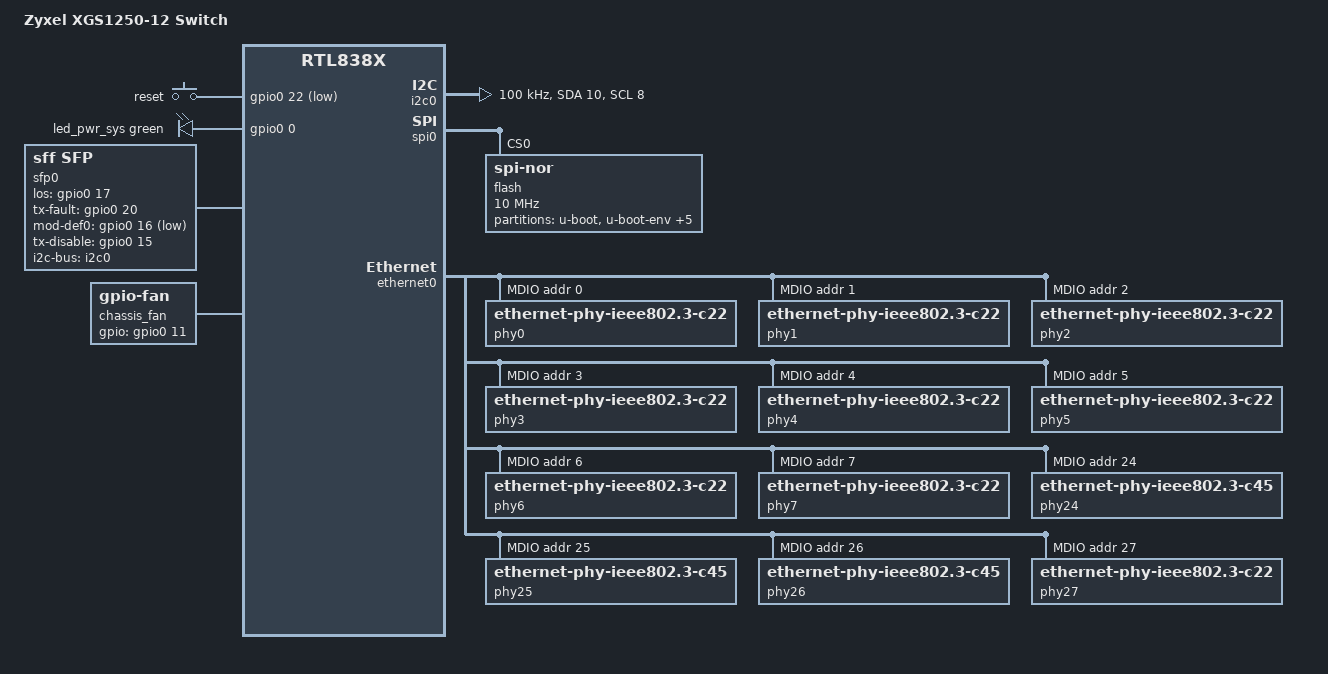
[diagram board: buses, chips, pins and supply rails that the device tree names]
// SPDX-License-Identifier: GPL-2.0-or-later
/dts-v1/;

#include "rtl930x.dtsi"

#include <dt-bindings/input/input.h>
#include <dt-bindings/gpio/gpio.h>
#include <dt-bindings/leds/common.h>
#include <dt-bindings/thermal/thermal.h>

/ {
	compatible = "zyxel,xgs1250-12", "realtek,rtl838x-soc";
	model = "Zyxel XGS1250-12 Switch";

	aliases {
		led-boot = &led_pwr_sys;
		led-failsafe = &led_pwr_sys;
		led-running = &led_pwr_sys;
		led-upgrade = &led_pwr_sys;
	};

	keys {
		compatible = "gpio-keys";

		mode {
			label = "reset";
			gpios = <&gpio0 22 GPIO_ACTIVE_LOW>;
			linux,code = <KEY_RESTART>;
		};
	};

	/* i2c of the SFP cage: port 12 */
	i2c0: i2c-rtl9300@1b00036c {
		compatible = "realtek,rtl9300-i2c";
		reg = <0x1b00036c 0x3c>;
		#address-cells = <1>;
		#size-cells = <0>;
		sda-pin = <10>;
		scl-pin = <8>;
		clock-frequency = <100000>;
	};

	leds {
		compatible = "gpio-leds";

		pinctrl-names = "default";
		pinctrl-0 = <&pinmux_disable_sys_led>;

		led_pwr_sys: led-0 {
			color = <LED_COLOR_ID_GREEN>;
			function = LED_FUNCTION_POWER;
			gpios = <&gpio0 0 GPIO_ACTIVE_HIGH>;
		};
	};

	sfp0: sfp-p12 {
		compatible = "sff,sfp";
		i2c-bus = <&i2c0>;
		los-gpio = <&gpio0 17 GPIO_ACTIVE_HIGH>;
		tx-fault-gpio = <&gpio0 20 GPIO_ACTIVE_HIGH>;
		mod-def0-gpio = <&gpio0 16 GPIO_ACTIVE_LOW>;
		tx-disable-gpio = <&gpio0 15 GPIO_ACTIVE_HIGH>;
	};

	led_set: led_set {
		compatible = "realtek,rtl9300-leds";
		active-low;

		led_set0 = <0x0a20 0x0b80>; // LED set 0: 1000Mbps,  10/100Mbps
		led_set1 = <0x0a0b 0x0a28 0x0a82 0x0a0b>; // LED set 1: (10G, 5G, 2.5G) (2.5G, 1G)
							  // (5G, 10/100) (10G, 5G, 2.5G)
		led_set2 = <0x0a20 0x0a01>; // LED set 2: 1000MBit, 10GBit
	};

	thermal-zones {
		phy24-thermal {
			/* Poll every 10 seconds */
			polling-delay-passive = <10000>;
			polling-delay = <10000>;
			thermal-sensors = <&phy24>;

			trips {
				phy24_trip0: phy24-trip0 {
					/* At 80 degrees turn on fan */
					temperature = <80000>;
					hysteresis = <1000>;
					type = "active";
				};

				phy24_trip1: phy24-trip1 {
					/* At 108 degrees phys exceed spec */
					temperature = <108000>;
					hysteresis = <5000>;
					type = "critical";
				};
			};

			cooling-maps {
				map {
					trip = <&phy24_trip0>;
					cooling-device = <&chassis_fan THERMAL_NO_LIMIT THERMAL_NO_LIMIT>;
				};
			};
		};

		phy25-thermal {
			/* Poll every 10 seconds */
			polling-delay-passive = <10000>;
			polling-delay = <10000>;
			thermal-sensors = <&phy25>;

			trips {
				phy25_trip0: phy25-trip0 {
					/* At 80 degrees turn on fan */
					temperature = <80000>;
					hysteresis = <1000>;
					type = "active";
				};

				phy25_trip1: phy25-trip1 {
					/* At 108 degrees phys exceed spec */
					temperature = <108000>;
					hysteresis = <5000>;
					type = "critical";
				};
			};

			cooling-maps {
				map {
					trip = <&phy25_trip0>;
					cooling-device = <&chassis_fan THERMAL_NO_LIMIT THERMAL_NO_LIMIT>;
				};
			};
		};

		phy26-thermal {
			/* Poll every 10 seconds */
			polling-delay-passive = <10000>;
			polling-delay = <10000>;
			thermal-sensors = <&phy26>;

			trips {
				phy26_trip0: phy26-trip0 {
					/* At 80 degrees turn on fan */
					temperature = <80000>;
					hysteresis = <1000>;
					type = "active";
				};

				phy26_trip1: phy26-trip1 {
					/* At 108 degrees phys exceed spec */
					temperature = <108000>;
					hysteresis = <5000>;
					type = "critical";
				};
			};

			cooling-maps {
				map {
					trip = <&phy26_trip0>;
					cooling-device = <&chassis_fan THERMAL_NO_LIMIT THERMAL_NO_LIMIT>;
				};
			};
		};
	};

	/* YEN SUN TECHNOLOGY FD122510LL-N fan */
	chassis_fan: gpio-fan {
		compatible = "gpio-fan";
		gpios = <&gpio0 11 GPIO_ACTIVE_HIGH>;
		gpio-fan,speed-map = <0    0
				      7000 1>;
		#cooling-cells = <2>;
	};
};

&spi0 {
	status = "okay";
	flash@0 {
		compatible = "jedec,spi-nor";
		reg = <0>;
		spi-max-frequency = <10000000>;

		partitions {
			compatible = "fixed-partitions";
			#address-cells = <1>;
			#size-cells = <1>;

			partition@0 {
				label = "u-boot";
				reg = <0x0 0xe0000>;
				read-only;
			};
			partition@e0000 {
				label = "u-boot-env";
				reg = <0xe0000 0x10000>;
			};
			partition@f0000 {
				label = "u-boot-env2";
				reg = <0xf0000 0x10000>;
				read-only;
			};
			partition@100000 {
				label = "jffs";
				reg = <0x100000 0x100000>;
			};
			partition@200000 {
				label = "jffs2";
				reg = <0x200000 0x100000>;
			};
			partition@b300000 {
				label = "firmware";
				reg = <0x300000 0xce0000>;
				compatible = "openwrt,uimage", "denx,uimage";
				openwrt,ih-magic = <0x93001250>;
			};
			partition@fe0000 {
				label = "log";
				reg = <0xfe0000 0x20000>;
			};
		};
	};
};

&ethernet0 {
	mdio: mdio-bus {
		compatible = "realtek,rtl838x-mdio";
		regmap = <&ethernet0>;
		#address-cells = <1>;
		#size-cells = <0>;

		/* External RTL8218D PHY */
		phy0: ethernet-phy@0 {
			reg = <0>;
			compatible = "ethernet-phy-ieee802.3-c22";
			rtl9300,smi-address = <0 0>;
			sds = < 2 >;
			// Disabled because we do not know how to bring up again
			// reset-gpios = <&gpio0 21 GPIO_ACTIVE_LOW>;
		};
		phy1: ethernet-phy@1 {
			reg = <1>;
			compatible = "ethernet-phy-ieee802.3-c22";
			rtl9300,smi-address = <0 1>;
		};
		phy2: ethernet-phy@2 {
			reg = <2>;
			compatible = "ethernet-phy-ieee802.3-c22";
			rtl9300,smi-address = <0 2>;
		};
		phy3: ethernet-phy@3 {
			reg = <3>;
			compatible = "ethernet-phy-ieee802.3-c22";
			rtl9300,smi-address = <0 3>;
		};
		phy4: ethernet-phy@4 {
			reg = <4>;
			compatible = "ethernet-phy-ieee802.3-c22";
			rtl9300,smi-address = <0 4>;
		};
		phy5: ethernet-phy@5 {
			reg = <5>;
			compatible = "ethernet-phy-ieee802.3-c22";
			rtl9300,smi-address = <0 5>;
		};
		phy6: ethernet-phy@6 {
			reg = <6>;
			compatible = "ethernet-phy-ieee802.3-c22";
			rtl9300,smi-address = <0 6>;
		};
		phy7: ethernet-phy@7 {
			reg = <7>;
			compatible = "ethernet-phy-ieee802.3-c22";
			rtl9300,smi-address = <0 7>;
		};

		/* External Aquantia 113C PHYs */
		phy24: ethernet-phy@24 {
			reg = <24>;
			compatible = "ethernet-phy-ieee802.3-c45";
			rtl9300,smi-address = <1 8>;
			sds = < 6 >;
			// Disabled because we do not know how to bring up again
			// reset-gpios = <&gpio0 21 GPIO_ACTIVE_LOW>;
			#thermal-sensor-cells = <0>;
		};

		phy25: ethernet-phy@25 {
			reg = <25>;
			compatible = "ethernet-phy-ieee802.3-c45";
			rtl9300,smi-address = <2 8>;
			sds = < 7 >;
			// Disabled because we do not know how to bring up again
			// reset-gpios = <&gpio0 21 GPIO_ACTIVE_LOW>;
			#thermal-sensor-cells = <0>;
		};

		phy26: ethernet-phy@26 {
			reg = <26>;
			compatible = "ethernet-phy-ieee802.3-c45";
			rtl9300,smi-address = <3 8>;
			sds = < 8 >;
			// Disabled because we do not know how to bring up again
			// reset-gpios = <&gpio0 21 GPIO_ACTIVE_LOW>;
			#thermal-sensor-cells = <0>;
		};

		/* SFP Ports */
		phy27: ethernet-phy@27 {
			compatible = "ethernet-phy-ieee802.3-c22";
			phy-is-integrated;
			reg = <27>;
			sds = < 9 >;
		};

	};
};

&switch0 {
	ports {
		#address-cells = <1>;
		#size-cells = <0>;

		port@0 {
			reg = <0>;
			label = "lan1";
			phy-handle = <&phy0>;
			phy-mode = "xgmii";
			led-set = <0>;
		};
		port@1 {
			reg = <1>;
			label = "lan2";
			phy-handle = <&phy1>;
			phy-mode = "xgmii";
			led-set = <0>;
		};
		port@2 {
			reg = <2>;
			label = "lan3";
			phy-handle = <&phy2>;
			phy-mode = "xgmii";
			led-set = <0>;
		};
		port@3 {
			reg = <3>;
			label = "lan4";
			phy-handle = <&phy3>;
			phy-mode = "xgmii";
			led-set = <0>;
		};
		port@4 {
			reg = <4>;
			label = "lan5";
			phy-handle = <&phy4>;
			phy-mode = "xgmii";
			led-set = <0>;
		};
		port@5 {
			reg = <5>;
			label = "lan6";
			phy-handle = <&phy5>;
			phy-mode = "xgmii";
			led-set = <0>;
		};
		port@6 {
			reg = <6>;
			label = "lan7";
			phy-handle = <&phy6>;
			phy-mode = "xgmii";
			led-set = <0>;
		};
		port@7 {
			reg = <7>;
			label = "lan8";
			phy-handle = <&phy7>;
			phy-mode = "xgmii";
			led-set = <0>;
		};

		port@24 {
			reg = <24>;
			label = "lan9";
			phy-mode = "usxgmii";
			phy-handle = <&phy24>;
			led-set = <1>;
		};
		port@25 {
			reg = <25>;
			label = "lan10";
			phy-mode = "usxgmii";
			phy-handle = <&phy25>;
			led-set = <1>;
		};
		port@26 {
			reg = <26>;
			label = "lan11";
			phy-mode = "usxgmii";
			phy-handle = <&phy26>;
			led-set = <1>;
		};

		port@27 {
			reg = <27>;
			label = "lan12";
			phy-mode = "1000base-x";
			phy-handle = <&phy27>;
			sfp = <&sfp0>;
			led-set = <2>;
			managed = "in-band-status";
		};

		port@28 {
			ethernet = <&ethernet0>;
			reg = <28>;
			phy-mode = "internal";
			fixed-link {
				speed = <10000>;
				full-duplex;
			};
		};
	};
};
